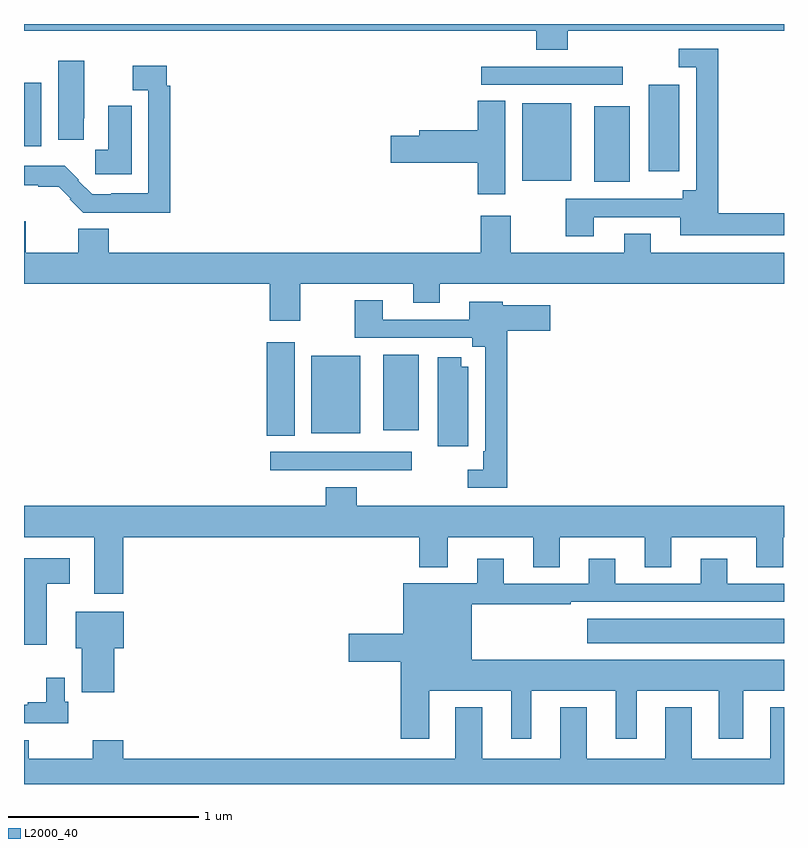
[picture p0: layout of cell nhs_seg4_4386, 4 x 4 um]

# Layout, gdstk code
import gdstk
lib = gdstk.Library(unit=1e-6, precision=1e-09)
def R(c, l, rs):  # rectangles x0, y0, x1, y1
    for r in rs: c.add(gdstk.rectangle(r[:2], r[2:], *l))
def P(c, l, *ps):  # polygons
    for p in ps: c.add(gdstk.Polygon(p, *l))
L2000_40 = (2000, 40)

nhs_seg4_4386 = lib.new_cell('nhs_seg4_4386')
R(nhs_seg4_4386, L2000_40, [(349.965,749.642,351,749.77), (348.297,750.552,349.042,750.648), (348.278,750.733,348.424,751.225), (348.512,750.746,348.769,751.153), (348.89,750.761,349.078,751.159), (350,752.069,350.188,752.467), (349.622,752.075,349.879,752.482), (350.288,752.124,350.449,752.581), (347,752.256,347.092,752.59), (349.407,752.58,350.152,752.676)])
P(nhs_seg4_4386, L2000_40, [(349.862,752.864),(351,752.864),(351,752.9),(347,752.9),(347,752.864),(349.697,752.864),(349.697,752.765),(349.862,752.765)],
  [(349.999,751.884),(350.453,751.884),(350.453,751.788),(351,751.788),(351,751.904),(350.654,751.904),(350.654,752.769),(350.445,752.769),(350.445,752.672),(350.538,752.672),(350.538,752.026),(350.468,752.026),(350.468,751.98),(349.852,751.98),(349.852,751.782),(349.999,751.782)],
  [(347.314,752.404),(347.317,752.404),(347.317,752.707),(347.18,752.707),(347.18,752.292),(347.314,752.292)],
  [(347.771,752.576),(347.751,752.576),(347.751,752.68),(347.572,752.68),(347.572,752.552),(347.655,752.552),(347.655,752.008),(347.458,752.008),(347.458,752.004),(347.358,752.004),(347.286,752.076),(347.289,752.079),(347.215,752.153),(347,752.153),(347,752.051),(347.075,752.051),(347.075,752.043),(347.183,752.043),(347.245,751.981),(347.241,751.977),(347.311,751.907),(347.771,751.907)],
  [(349.534,752.495),(349.388,752.495),(349.388,752.342),(349.079,752.342),(349.079,752.312),(348.93,752.312),(348.93,752.17),(349.388,752.17),(349.388,752.004),(349.534,752.004)],
  [(347.566,752.471),(347.444,752.471),(347.444,752.239),(347.376,752.239),(347.376,752.11),(347.566,752.11)],
  [(348.453,751.532),(349.049,751.532),(349.049,751.433),(349.189,751.433),(349.189,751.532),(351,751.532),(351,751.696),(350.299,751.696),(350.299,751.795),(350.159,751.795),(350.159,751.696),(349.563,751.696),(349.563,751.891),(349.403,751.891),(349.403,751.696),(347.446,751.696),(347.446,751.822),(347.285,751.822),(347.285,751.696),(347.008,751.696),(347.008,751.861),(347,751.861),(347,751.532),(348.293,751.532),(348.293,751.338),(348.453,751.338)],
  [(349.544,751.286),(349.771,751.286),(349.771,751.42),(349.521,751.42),(349.521,751.438),(349.343,751.438),(349.343,751.344),(348.889,751.344),(348.889,751.447),(348.742,751.447),(348.742,751.248),(349.358,751.248),(349.358,751.202),(349.428,751.202),(349.428,750.652),(349.416,750.652),(349.416,750.555),(349.335,750.555),(349.335,750.459),(349.544,750.459)],
  [(349.339,751.096),(349.3,751.096),(349.3,751.145),(349.178,751.145),(349.178,750.678),(349.339,750.678)],
  [(347.522,750.2),(349.079,750.2),(349.079,750.041),(349.231,750.041),(349.231,750.2),(349.679,750.2),(349.679,750.04),(349.819,750.04),(349.819,750.2),(350.267,750.2),(350.267,750.04),(350.407,750.04),(350.407,750.2),(350.855,750.2),(350.855,750.04),(350.995,750.04),(350.995,750.2),(351,750.2),(351,750.364),(348.752,750.364),(348.752,750.463),(348.587,750.463),(348.587,750.364),(347,750.364),(347,750.2),(347.369,750.2),(347.369,749.901),(347.522,749.901)],
  [(347.119,749.954),(347.242,749.954),(347.242,750.088),(347,750.088),(347,749.634),(347.119,749.634)],
  [(349.132,749.39),(349.565,749.39),(349.565,749.139),(349.669,749.139),(349.669,749.39),(350.114,749.39),(350.114,749.139),(350.224,749.139),(350.224,749.39),(350.657,749.39),(350.657,749.139),(350.785,749.139),(350.785,749.39),(351,749.39),(351,749.554),(349.357,749.554),(349.357,749.847),(349.877,749.847),(349.877,749.859),(351,749.859),(351,749.955),(350.701,749.955),(350.701,750.085),(350.561,750.085),(350.561,749.955),(350.113,749.955),(350.113,750.085),(349.973,750.085),(349.973,749.955),(349.525,749.955),(349.525,750.085),(349.385,750.085),(349.385,749.956),(348.995,749.956),(348.995,749.69),(348.708,749.69),(348.708,749.543),(348.983,749.543),(348.983,749.139),(349.132,749.139)],
  [(347.474,749.615),(347.524,749.615),(347.524,749.806),(347.273,749.806),(347.273,749.615),(347.303,749.615),(347.303,749.382),(347.474,749.382)],
  [(347.234,749.334),(347.214,749.334),(347.214,749.458),(347.116,749.458),(347.116,749.329),(347.021,749.329),(347.021,749.316),(347,749.316),(347,749.22),(347.234,749.22)],
  [(351,749.305),(350.927,749.305),(350.927,749.032),(350.515,749.032),(350.515,749.305),(350.375,749.305),(350.375,749.032),(349.963,749.032),(349.963,749.305),(349.823,749.305),(349.823,749.032),(349.411,749.032),(349.411,749.305),(349.271,749.305),(349.271,749.032),(347.522,749.032),(347.522,749.131),(347.362,749.131),(347.362,749.032),(347.025,749.032),(347.025,749.131),(347,749.131),(347,748.9),(351,748.9)])

lib.write_gds('nhs_seg4_4386.gds')
